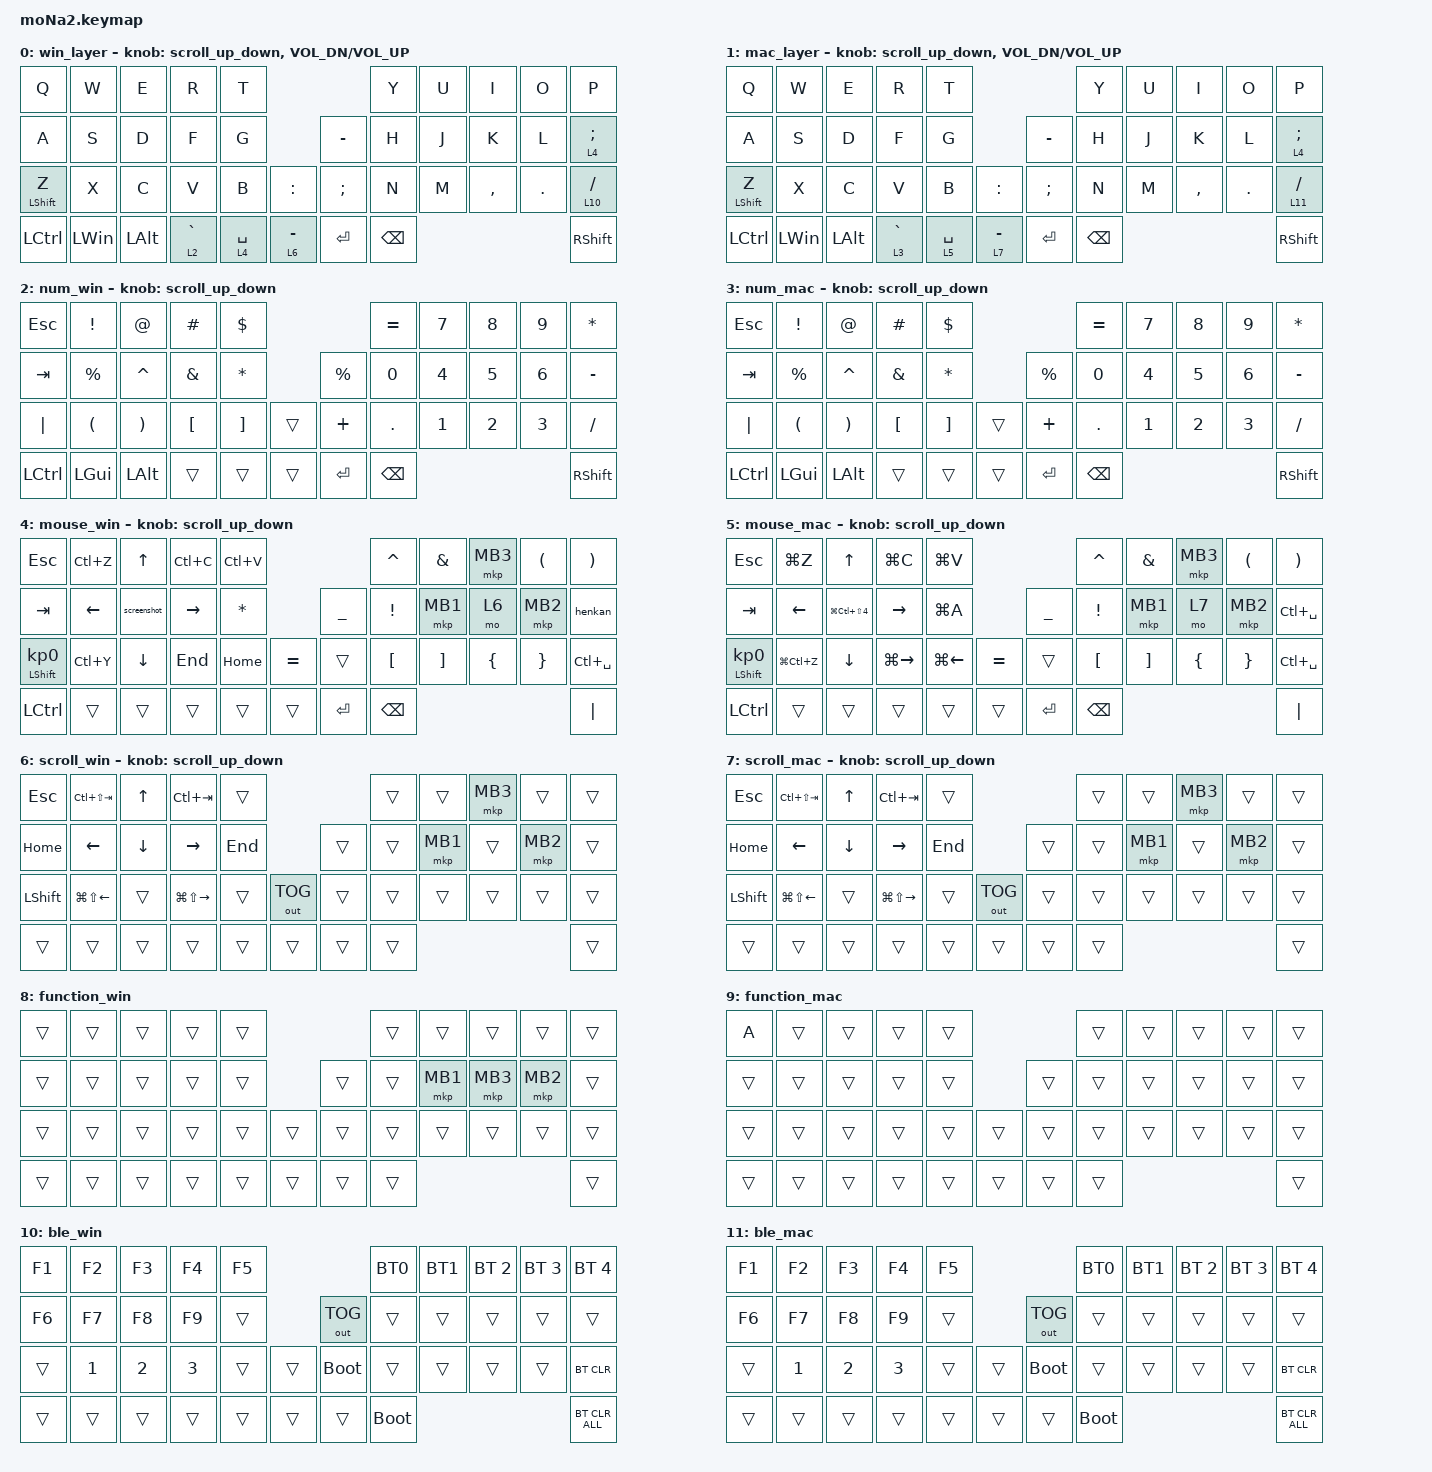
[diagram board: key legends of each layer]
#include <dt-bindings/zmk/mouse.h>
#include <behaviors.dtsi>
#include <dt-bindings/zmk/bt.h>
#include <dt-bindings/zmk/keys.h>
#include <dt-bindings/zmk/outputs.h>
#include <dt-bindings/zmk/pointing.h>

#define ZMK_POINTING_DEFAULT_SCRL_VAL 100
#define MOUSE 2
#define SCROLL 3

&mt {
    flavor = "balanced";
    quick-tap-ms = <200>;
};

/ {
    combos { compatible = "zmk,combos"; };

    macros {
        to_layer_0: to_layer_0 {
            compatible = "zmk,behavior-macro-one-param";
            #binding-cells = <1>;
            bindings = <&to 0 &macro_param_1to1 &kp MACRO_PLACEHOLDER>;
            label = "TO_LAYER_0";
        };

        BT0: BT0 {
            compatible = "zmk,behavior-macro";
            #binding-cells = <0>;
            bindings =
                <&tog_off 0 &tog_off 1>,
                <&macro_wait_time 200>,
                <&bt BT_SEL 0>,
                <&macro_wait_time 500>,
                <&tog_on 0>;

            label = "BT0";
        };

        BT1: BT1 {
            compatible = "zmk,behavior-macro";
            #binding-cells = <0>;
            bindings =
                <&tog_off 0 &tog_off 1>,
                <&macro_wait_time 200>,
                <&bt BT_SEL 1>,
                <&macro_wait_time 500>,
                <&tog_on 1>;

            label = "BT1";
        };

        screenshot: screenshot {
            compatible = "zmk,behavior-macro";
            #binding-cells = <0>;
            bindings =
                <&macro_press>,
                <&kp LEFT_GUI &kp RSHIFT>,
                <&macro_wait_time 20>,
                <&macro_tap>,
                <&kp S>,
                <&macro_release>,
                <&kp LEFT_GUI &kp RSHIFT>;

            label = "SCREENSHOT";
        };

        henkan: henkan {
            compatible = "zmk,behavior-macro";
            #binding-cells = <0>;
            bindings =
                <&macro_press>,
                <&kp LEFT_ALT>,
                <&macro_wait_time 20>,
                <&macro_tap>,
                <&kp GRAVE>,
                <&macro_release>,
                <&kp LEFT_ALT>;

            label = "HENKAN";
        };
    };

    behaviors {
        lt_to_layer_0: lt_to_layer_0 {
            compatible = "zmk,behavior-hold-tap";
            label = "LAYER_TAP_TO_0";
            bindings = <&mo>, <&to_layer_0>;

            #binding-cells = <2>;
            tapping-term-ms = <200>;
        };

        tp_repeat_mo1: tp_repeat_mo1 {
            compatible = "zmk,behavior-hold-tap";
            label = "TP_REPEAT_MO1";
            bindings = <&mo>, <&key_repeat>;

            #binding-cells = <2>;
            tapping-term-ms = <200>;
        };

        // 新しいスクロール動作の追加

        scroll_up_down: behavior_sensor_rotate_mouse_wheel_up_down {
            compatible = "zmk,behavior-sensor-rotate";
            #sensor-binding-cells = <0>;
            bindings = <&msc SCRL_UP>, <&msc SCRL_DOWN>;

            // 追加: スクロールのタップ時間を設定 (20ms)

            tap-ms = <20>;
        };

        tog_on: toggle_layer_on_only {
            compatible = "zmk,behavior-toggle-layer";
            #binding-cells = <1>;
            display-name = "Toggle Layer On";
            toggle-mode = "on";
        };

        tog_off: toggle_layer_off_only {
            compatible = "zmk,behavior-toggle-layer";
            #binding-cells = <1>;
            display-name = "Toggle Layer Off";
            toggle-mode = "off";
        };

        zfold: zfold {
            compatible = "zmk,behavior-hold-tap";
            label = "ZFOLD";
            bindings = <&kp>, <&kp>;

            #binding-cells = <2>;
            tapping-term-ms = <300>;
            flavor = "hold-preferred";
            quick-tap-ms = <150>;
            hold-while-undecided;
        };

        zfoldZ: zfoldZ {
            compatible = "zmk,behavior-tap-dance";
            label = "ZFOLDZ";
            #binding-cells = <0>;
            bindings = <&zfold LEFT_SHIFT Z>, <&kp LS(Z)>;
        };
    };

    keymap {
        compatible = "zmk,keymap";

        win_layer {
            bindings = <
&kp Q             &kp W         &kp E         &kp R        &kp T                                      &kp Y          &kp U  &kp I      &kp O    &kp P
&kp A             &kp S         &kp D         &kp F        &kp G                       &kp MINUS      &kp H          &kp J  &kp K      &kp L    &lt 4 SEMICOLON
&mt LEFT_SHIFT Z  &kp X         &kp C         &kp V        &kp B        &kp COLON      &kp SEMICOLON  &kp N          &kp M  &kp COMMA  &kp DOT  &lt 10 SLASH
&kp LCTRL         &kp LEFT_WIN  &kp LEFT_ALT  &lt 2 GRAVE  &lt 4 SPACE  &lt 6 MINUS    &kp ENTER      &kp BACKSPACE                             &kp RIGHT_SHIFT
            >;

            sensor-bindings =
                <&scroll_up_down>,
                <&inc_dec_kp C_VOL_DN C_VOL_UP>;
        };

        mac_layer {
            bindings = <
&kp Q             &kp W         &kp E         &kp R        &kp T                                      &kp Y          &kp U  &kp I      &kp O    &kp P
&kp A             &kp S         &kp D         &kp F        &kp G                       &kp MINUS      &kp H          &kp J  &kp K      &kp L    &lt 4 SEMICOLON
&mt LEFT_SHIFT Z  &kp X         &kp C         &kp V        &kp B        &kp COLON      &kp SEMICOLON  &kp N          &kp M  &kp COMMA  &kp DOT  &lt 11 SLASH
&kp LCTRL         &kp LEFT_WIN  &kp LEFT_ALT  &lt 3 GRAVE  &lt 5 SPACE  &lt 7 MINUS    &kp ENTER      &kp BACKSPACE                             &kp RIGHT_SHIFT
            >;

            sensor-bindings =
                <&scroll_up_down>,
                <&inc_dec_kp C_VOL_DN C_VOL_UP>;
        };

        num_win {
            bindings = <
&kp ESCAPE  &kp EXCLAMATION       &kp AT_SIGN            &kp HASH          &kp DOLLAR                                &kp EQUAL      &kp NUMBER_7  &kp NUMBER_8  &kp NUMBER_9  &kp ASTERISK
&kp TAB     &kp PERCENT           &kp CARET              &kp AMPERSAND     &kp ASTERISK                 &kp PERCENT  &kp NUMBER_0   &kp NUMBER_4  &kp NUMBER_5  &kp NUMBER_6  &kp MINUS
&kp PIPE    &kp LEFT_PARENTHESIS  &kp RIGHT_PARENTHESIS  &kp LEFT_BRACKET  &kp RIGHT_BRACKET  &trans    &kp PLUS     &kp DOT        &kp NUMBER_1  &kp NUMBER_2  &kp NUMBER_3  &kp SLASH
&kp LCTRL   &kp LEFT_GUI          &kp LEFT_ALT           &trans            &trans             &trans    &kp ENTER    &kp BACKSPACE                                            &kp RIGHT_SHIFT
            >;

            sensor-bindings = <&scroll_up_down>;
        };

        num_mac {
            bindings = <
&kp ESCAPE  &kp EXCLAMATION       &kp AT_SIGN            &kp HASH          &kp DOLLAR                                &kp EQUAL      &kp NUMBER_7  &kp NUMBER_8  &kp NUMBER_9  &kp ASTERISK
&kp TAB     &kp PERCENT           &kp CARET              &kp AMPERSAND     &kp ASTERISK                 &kp PERCENT  &kp NUMBER_0   &kp NUMBER_4  &kp NUMBER_5  &kp NUMBER_6  &kp MINUS
&kp PIPE    &kp LEFT_PARENTHESIS  &kp RIGHT_PARENTHESIS  &kp LEFT_BRACKET  &kp RIGHT_BRACKET  &trans    &kp PLUS     &kp DOT        &kp NUMBER_1  &kp NUMBER_2  &kp NUMBER_3  &kp SLASH
&kp LCTRL   &kp LEFT_GUI          &kp LEFT_ALT           &trans            &trans             &trans    &kp ENTER    &kp BACKSPACE                                            &kp RIGHT_SHIFT
            >;

            sensor-bindings = <&scroll_up_down>;
        };

        mouse_win {
            bindings = <
&kp ESCAPE                  &kp LC(Z)       &kp UP_ARROW    &kp LC(C)        &kp LC(V)                                  &kp CARET         &kp AMPERSAND      &mkp MB3        &kp LEFT_PARENTHESIS  &kp RIGHT_PARENTHESIS
&kp TAB                     &kp LEFT_ARROW  &screenshot     &kp RIGHT_ARROW  &kp ASTERISK               &kp UNDERSCORE  &kp EXCLAMATION   &mkp MB1           &mo 6           &mkp MB2              &henkan
&mt LEFT_SHIFT KP_NUMBER_0  &kp LC(Y)       &kp DOWN_ARROW  &kp END          &kp HOME      &kp EQUAL    &trans          &kp LEFT_BRACKET  &kp RIGHT_BRACKET  &kp LEFT_BRACE  &kp RIGHT_BRACE       &kp LC(SPACE)
&kp LCTRL                   &trans          &trans          &trans           &trans        &trans       &kp ENTER       &kp BACKSPACE                                                              &kp PIPE
            >;

            sensor-bindings = <&scroll_up_down>;
        };

        mouse_mac {
            bindings = <
&kp ESCAPE                  &kp LG(Z)       &kp UP_ARROW              &kp LG(C)        &kp LG(V)                                  &kp CARET         &kp AMPERSAND      &mkp MB3        &kp LEFT_PARENTHESIS  &kp RIGHT_PARENTHESIS
&kp TAB                     &kp LEFT_ARROW  &kp LG(LC(LS(NUMBER_4)))  &kp RIGHT_ARROW  &kp LG(A)                  &kp UNDERSCORE  &kp EXCLAMATION   &mkp MB1           &mo 7           &mkp MB2              &kp LC(SPACE)
&mt LEFT_SHIFT KP_NUMBER_0  &kp LG(LC(Z))   &kp DOWN_ARROW            &kp LG(RIGHT)    &kp LG(LEFT)  &kp EQUAL    &trans          &kp LEFT_BRACKET  &kp RIGHT_BRACKET  &kp LEFT_BRACE  &kp RIGHT_BRACE       &kp LC(SPACE)
&kp LCTRL                   &trans          &trans                    &trans           &trans        &trans       &kp ENTER       &kp BACKSPACE                                                              &kp PIPE
            >;

            sensor-bindings = <&scroll_up_down>;
        };

        scroll_win {
            bindings = <
&kp ESCAPE      &kp LC(LS(TAB))         &kp UP_ARROW    &kp LC(TAB)              &trans                           &trans  &trans    &mkp MB3  &trans    &trans
&kp HOME        &kp LEFT_ARROW          &kp DOWN_ARROW  &kp RIGHT_ARROW          &kp END                  &trans  &trans  &mkp MB1  &trans    &mkp MB2  &trans
&kp LEFT_SHIFT  &kp LG(LS(LEFT_ARROW))  &trans          &kp LG(LS(RIGHT_ARROW))  &trans   &out OUT_TOG    &trans  &trans  &trans    &trans    &trans    &trans
&trans          &trans                  &trans          &trans                   &trans   &trans          &trans  &trans                                &trans
            >;

            sensor-bindings = <&scroll_up_down>;
        };

        scroll_mac {
            bindings = <
&kp ESCAPE      &kp LC(LS(TAB))         &kp UP_ARROW    &kp LC(TAB)              &trans                           &trans  &trans    &mkp MB3  &trans    &trans
&kp HOME        &kp LEFT_ARROW          &kp DOWN_ARROW  &kp RIGHT_ARROW          &kp END                  &trans  &trans  &mkp MB1  &trans    &mkp MB2  &trans
&kp LEFT_SHIFT  &kp LG(LS(LEFT_ARROW))  &trans          &kp LG(LS(RIGHT_ARROW))  &trans   &out OUT_TOG    &trans  &trans  &trans    &trans    &trans    &trans
&trans          &trans                  &trans          &trans                   &trans   &trans          &trans  &trans                                &trans
            >;

            sensor-bindings = <&scroll_up_down>;
        };

        function_win {
            bindings = <
&trans  &trans  &trans  &trans  &trans                    &trans  &trans    &trans    &trans    &trans
&trans  &trans  &trans  &trans  &trans            &trans  &trans  &mkp MB1  &mkp MB3  &mkp MB2  &trans
&trans  &trans  &trans  &trans  &trans  &trans    &trans  &trans  &trans    &trans    &trans    &trans
&trans  &trans  &trans  &trans  &trans  &trans    &trans  &trans                                &trans
            >;
        };

        function_mac {
            bindings = <
&kp A   &trans  &trans  &trans  &trans                    &trans  &trans  &trans  &trans  &trans
&trans  &trans  &trans  &trans  &trans            &trans  &trans  &trans  &trans  &trans  &trans
&trans  &trans  &trans  &trans  &trans  &trans    &trans  &trans  &trans  &trans  &trans  &trans
&trans  &trans  &trans  &trans  &trans  &trans    &trans  &trans                          &trans
            >;
        };

        ble_win {
            bindings = <
&kp F1  &kp F2        &kp F3        &kp F4        &kp F5                          &BT0         &BT1    &bt BT_SEL 2  &bt BT_SEL 3  &bt BT_SEL 4
&kp F6  &kp F7        &kp F8        &kp F9        &trans            &out OUT_TOG  &trans       &trans  &trans        &trans        &trans
&trans  &kp NUMBER_1  &kp NUMBER_2  &kp NUMBER_3  &trans  &trans    &bootloader   &trans       &trans  &trans        &trans        &bt BT_CLR
&trans  &trans        &trans        &trans        &trans  &trans    &trans        &bootloader                                      &bt BT_CLR_ALL
            >;
        };

        ble_mac {
            bindings = <
&kp F1  &kp F2        &kp F3        &kp F4        &kp F5                          &BT0         &BT1    &bt BT_SEL 2  &bt BT_SEL 3  &bt BT_SEL 4
&kp F6  &kp F7        &kp F8        &kp F9        &trans            &out OUT_TOG  &trans       &trans  &trans        &trans        &trans
&trans  &kp NUMBER_1  &kp NUMBER_2  &kp NUMBER_3  &trans  &trans    &bootloader   &trans       &trans  &trans        &trans        &bt BT_CLR
&trans  &trans        &trans        &trans        &trans  &trans    &trans        &bootloader                                      &bt BT_CLR_ALL
            >;
        };
    };
};
